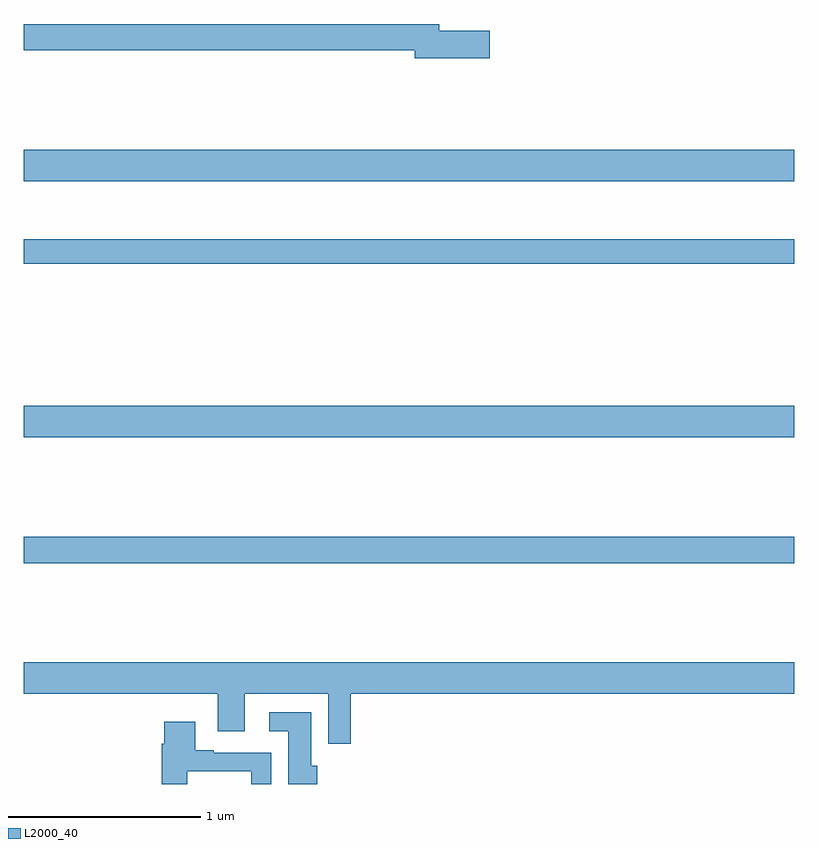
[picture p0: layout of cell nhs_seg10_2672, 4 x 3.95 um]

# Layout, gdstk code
import gdstk
lib = gdstk.Library(unit=1e-6, precision=1e-09)
def R(c, l, rs):  # rectangles x0, y0, x1, y1
    for r in rs: c.add(gdstk.rectangle(r[:2], r[2:], *l))
def P(c, l, *ps):  # polygons
    for p in ps: c.add(gdstk.Polygon(p, *l))
L2000_40 = (2000, 40)

nhs_seg10_2672 = lib.new_cell('nhs_seg10_2672')
R(nhs_seg10_2672, L2000_40, [(255,1315.648,259,1315.784), (255,1316.3,259,1316.464), (255,1317.202,259,1317.331), (255,1317.632,259,1317.796)])
P(nhs_seg10_2672, L2000_40, [(257.419,1318.412),(257.158,1318.412),(257.158,1318.448),(255,1318.448),(255,1318.312),(257.03,1318.312),(257.03,1318.27),(257.419,1318.27)],
  [(256.697,1314.968),(259,1314.968),(259,1315.132),(255,1315.132),(255,1314.968),(256.007,1314.968),(256.007,1314.774),(256.147,1314.774),(256.147,1314.968),(256.581,1314.968),(256.581,1314.708),(256.697,1314.708)],
  [(256.523,1314.594),(256.492,1314.594),(256.492,1314.874),(256.275,1314.874),(256.275,1314.773),(256.373,1314.773),(256.373,1314.5),(256.523,1314.5)],
  [(255.847,1314.567),(256.181,1314.567),(256.181,1314.5),(256.285,1314.5),(256.285,1314.663),(255.985,1314.663),(255.985,1314.676),(255.889,1314.676),(255.889,1314.823),(255.728,1314.823),(255.728,1314.71),(255.716,1314.71),(255.716,1314.5),(255.847,1314.5)])

lib.write_gds('nhs_seg10_2672.gds')
